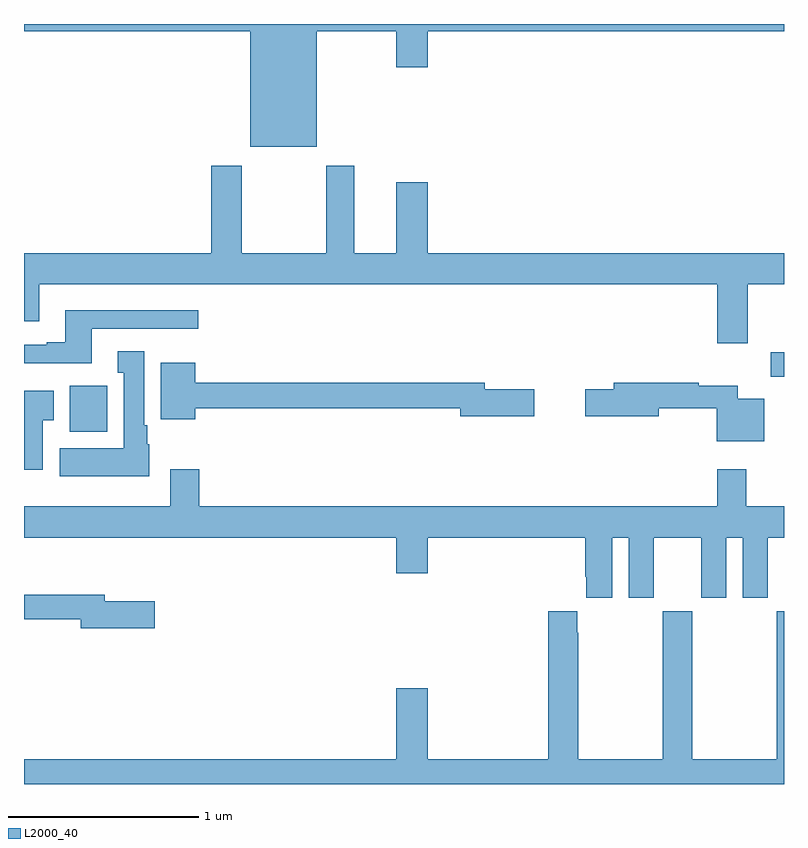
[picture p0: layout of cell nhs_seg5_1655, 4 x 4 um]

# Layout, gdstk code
import gdstk
lib = gdstk.Library(unit=1e-6, precision=1e-09)
def R(c, l, rs):  # rectangles x0, y0, x1, y1
    for r in rs: c.add(gdstk.rectangle(r[:2], r[2:], *l))
def P(c, l, *ps):  # polygons
    for p in ps: c.add(gdstk.Polygon(p, *l))
L2000_40 = (2000, 40)

nhs_seg5_1655 = lib.new_cell('nhs_seg5_1655')
R(nhs_seg5_1655, L2000_40, [(211.241,854.654,211.438,854.896), (214.929,854.943,215,855.072)])
P(nhs_seg5_1655, L2000_40, [(212.542,856.76),(212.96,856.76),(212.96,856.572),(213.124,856.572),(213.124,856.76),(215,856.76),(215,856.799),(211,856.799),(211,856.76),(212.192,856.76),(212.192,856.154),(212.542,856.154)],
  [(214.809,855.428),(215,855.428),(215,855.592),(213.124,855.592),(213.124,855.967),(212.96,855.967),(212.96,855.592),(212.737,855.592),(212.737,856.054),(212.59,856.054),(212.59,855.592),(212.145,855.592),(212.145,856.054),(211.985,856.054),(211.985,855.592),(211,855.592),(211,855.234),(211.081,855.234),(211.081,855.428),(214.649,855.428),(214.649,855.12),(214.809,855.12)],
  [(211.357,855.195),(211.918,855.195),(211.918,855.292),(211.217,855.292),(211.217,855.124),(211.121,855.124),(211.121,855.111),(211,855.111),(211,855.014),(211.357,855.014)],
  [(211.66,854.586),(211.648,854.586),(211.648,854.686),(211.633,854.686),(211.633,855.076),(211.493,855.076),(211.493,854.963),(211.526,854.963),(211.526,854.566),(211.187,854.566),(211.187,854.42),(211.66,854.42)],
  [(211.9,854.776),(213.296,854.776),(213.296,854.734),(213.685,854.734),(213.685,854.876),(213.424,854.876),(213.424,854.912),(211.9,854.912),(211.9,855.016),(211.721,855.016),(211.721,854.72),(211.9,854.72)],
  [(214.897,854.827),(214.756,854.827),(214.756,854.895),(214.55,854.895),(214.55,854.912),(214.103,854.912),(214.103,854.876),(213.954,854.876),(213.954,854.734),(214.342,854.734),(214.342,854.776),(214.646,854.776),(214.646,854.603),(214.897,854.603)],
  [(211.099,854.713),(211.156,854.713),(211.156,854.869),(211,854.869),(211,854.454),(211.099,854.454)],
  [(214.096,854.096),(214.184,854.096),(214.184,853.779),(214.315,853.779),(214.315,854.096),(214.565,854.096),(214.565,853.779),(214.696,853.779),(214.696,854.096),(214.784,854.096),(214.784,853.779),(214.915,853.779),(214.915,854.096),(215,854.096),(215,854.26),(214.801,854.26),(214.801,854.455),(214.649,854.455),(214.649,854.26),(211.922,854.26),(211.922,854.455),(211.769,854.455),(211.769,854.26),(211,854.26),(211,854.096),(212.96,854.096),(212.96,853.908),(213.124,853.908),(213.124,854.096),(213.953,854.096),(213.953,853.891),(213.959,853.891),(213.959,853.779),(214.096,853.779)],
  [(211.687,853.761),(211.426,853.761),(211.426,853.795),(211,853.795),(211,853.666),(211.298,853.666),(211.298,853.619),(211.687,853.619)],
  [(215,853.708),(214.963,853.708),(214.963,852.928),(214.518,852.928),(214.518,853.708),(214.363,853.708),(214.363,852.928),(213.918,852.928),(213.918,853.595),(213.913,853.595),(213.913,853.708),(213.758,853.708),(213.758,852.928),(213.124,852.928),(213.124,853.303),(212.96,853.303),(212.96,852.928),(211,852.928),(211,852.799),(215,852.799)])

lib.write_gds('nhs_seg5_1655.gds')
